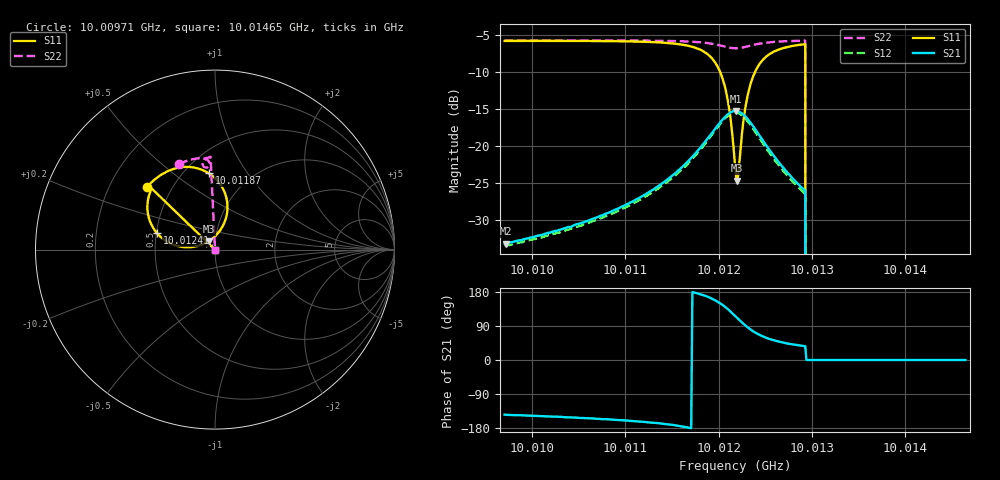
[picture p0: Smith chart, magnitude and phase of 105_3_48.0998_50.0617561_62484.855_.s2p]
#  HZ  S  RI  R  50.00
! Rohde & Schwarz Vector Network Analyzer
! Rohde-Schwarz,ZNB20-2Port,1311601062101988,3.16
! Created: UTC 12/23/2023, 3:45:11 AM
! freq[Hz]  re:S11  im:S11  re:S21  im:S21  re:S12  im:S12  re:S22  im:S22
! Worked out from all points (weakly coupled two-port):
!   401 points, 10.00971 GHz to 10.01465 GHz, reference 50 ohm
!   highest |S21| = -15.21 dB at 10.01219 GHz (marker M1); lowest = -33.1 dB at 10.00972 GHz (marker M2)
!   lowest |S11| = -24.6 dB at 10.0122 GHz (marker M3), VSWR 1.12, Z = 46.3 + j4.33 ohm
!   |S11| at or under -10 dB: 10.01202 GHz to 10.01239 GHz (371.2 kHz wide, 0.00371 % of centre); 10.01293 GHz to end of sweep
!   |S22| runs from - to -5.7 dB; largest |S21 - S12| = 0.0084
!   S11 on the Smith chart (normalised r, x): 10.00971 GHz: 0.36, +0.34; 10.01187 GHz: 0.66, +0.68; 10.01241 GHz: 0.50, +0.10; 10.01465 GHz: 1.00, +0.00
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1.0009707e10  -0.381 0.3474  -0.0179 -0.0129  -0.0166 -0.0132  -0.1994 0.4785
1.0009719e10  -0.38 0.348  -0.0179 -0.0128  -0.0167 -0.0133  -0.1986 0.4788
1.0010534e10  -0.3254 0.399  -0.0272 -0.0138  -0.0252 -0.0147  -0.1471 0.4977
1.0011362e10  -0.2218 0.452  -0.053 -0.0123  -0.0503 -0.0143  -0.0874 0.5093
1.0011868e10  -0.0337 0.4247  -0.1075 0.022  -0.1052 0.0157  -0.0402 0.4982
1.0011979e10  0.0363 0.3534  -0.1229 0.0565  -0.1226 0.0485  -0.0311 0.4856
1.0012065e10  0.0693 0.2474  -0.1227 0.0983  -0.1236 0.0913  -0.0304 0.4712
1.0012115e10  0.0589 0.1683  -0.1097 0.1267  -0.1124 0.1189  -0.0348 0.4631
1.0012176e10  0.000463 0.0746  -0.0772 0.1553  -0.081 0.1486  -0.0454 0.4571
1.0012189e10  -0.0168 0.0599  -0.0692 0.1591  -0.0731 0.1525  -0.0479 0.4567
1.0012201e10  -0.036 0.0465  -0.0607 0.162  -0.0647 0.1556  -0.0505 0.4568
1.0012226e10  -0.0768 0.0266  -0.0438 0.1652  -0.048 0.159  -0.0555 0.4577
1.0012263e10  -0.1414 0.0133  -0.0185 0.1636  -0.0228 0.1579  -0.0619 0.4616
1.00123e10  -0.2014 0.0183  0.00366 0.1564  -0.000721 0.151  -0.0664 0.467
1.0012349e10  -0.2681 0.0448  0.0265 0.1404  0.021 0.1358  -0.0691 0.4753
1.0012411e10  -0.3238 0.0922  0.0432 0.1182  0.0375 0.1146  -0.0684 0.4853
1.0012584e10  -0.3758 0.2159  0.0534 0.0696  0.0481 0.0685  -0.0557 0.5039
1.0012905e10  -0.3552 0.3345  0.0414 0.0313  0.0379 0.0316  -0.0269 0.5168
1.0012967e10  0 0  0 0  0 0  0 0
1.0013004e10  0 0  0 0  0 0  0 0
1.0013831e10  0 0  0 0  0 0  0 0
1.0014646e10  0 0  0 0  0 0  0 0
